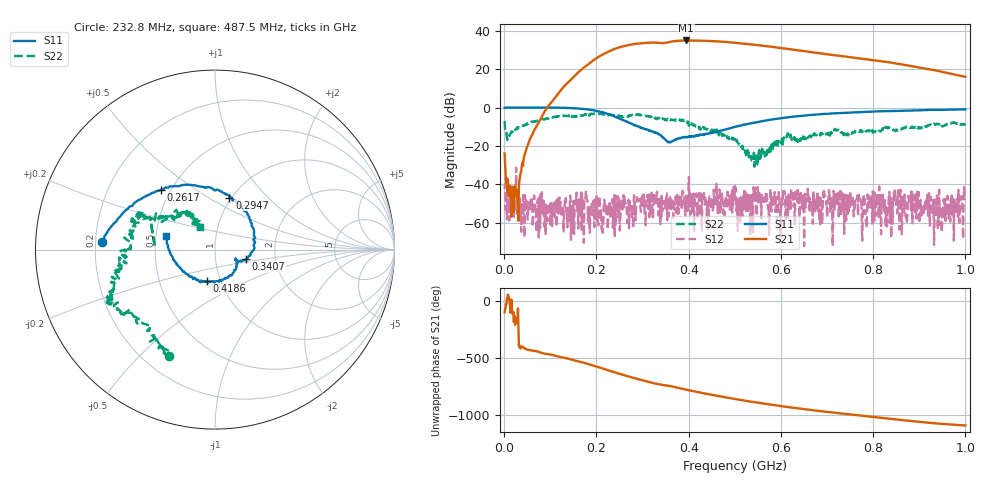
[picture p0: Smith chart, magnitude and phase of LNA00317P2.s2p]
! Created with skrf 1.9.0 (http://scikit-rf.org).
# Hz S RI R 50.0
!freq ReS11 ImS11 ReS21 ImS21 ReS12 ImS12 ReS22 ImS22
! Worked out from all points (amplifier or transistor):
!   1001 points, 1 MHz to 1 GHz, reference 50 ohm
!   highest |S21| = 35.0 dB at 394.6 MHz (marker M1)
!   |S21| within 3 dB of that: 259.7 MHz to 569 MHz (309.3 MHz wide, 74.6 % of centre)
!   unconditionally stable (mu >= 1): 3.625 MHz to 71.79 MHz; 240.8 MHz to 400.5 MHz; 400.7 MHz to end of sweep (the widest 3 of 34)
!   at 166.8 MHz: K = 0.42, MSG = 32.0 dB, |S12| = -44.3 dB
!   at 500.5 MHz: K = 1.18, MAG = 34.8 dB, |S12| = -40.9 dB
!   at 1 GHz: K = 3.04, MAG = 24.4 dB, |S12| = -48.1 dB
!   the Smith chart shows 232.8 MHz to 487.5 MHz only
!   S11 on the Smith chart (normalised r, x): 232.8 MHz: 0.23, +0.03; 261.7 MHz: 0.44, +0.37; 294.7 MHz: 0.98, +0.62; 340.7 MHz: 1.41, -0.15; 418.6 MHz: 0.86, -0.31; 487.5 MHz: 0.57, +0.09
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1000000  0.991 -0.00352  -0.00828 -0.063  -0.00664 -0.00387  0.2887 0.3382
1.08892e8  0.5027 -0.857  -0.7963 -1.525  -0.00126 0.0013  0.4396 -0.3749
1.67833e8  -0.2687 -0.8871  -9.876 -0.5843  0.000155 -0.000596  0.0453 -0.6324
2.05795e8  -0.6739 -0.4105  -15.87 14.42  0.00388 -2.88e-05  -0.1687 -0.666
2.32768e8  -0.63 0.042  -6.916 30.59  -0.00211 -0.0011  -0.2547 -0.592
2.61739e8  -0.3003 0.3338  15.98 37.06  -0.00131 -0.0033  -0.4283 -0.3847
2.94706e8  0.0803 0.2895  41.47 22.86  -0.000396 -0.00283  -0.573 -0.2512
3.14686e8  0.1979 0.1515  48.65 6.34  -0.00128 0.0005  -0.5646 -0.1613
3.34666e8  0.1992 -0.0177  47.95 -9.431  0.00116 -0.001  -0.5338 -0.0618
3.4066e8  0.1744 -0.0527  46.68 -12.92  -0.000343 0.00136  -0.5173 -0.0279
3.68632e8  0.1228 -0.067  44.25 -30.64  -0.00219 0.00136  -0.4473 0.1425
3.94606e8  0.0657 -0.1563  29.11 -48.19  0.00128 0.00156  -0.3986 0.1698
4.18582e8  -0.0447 -0.1764  10.42 -54.62  0.0014 -0.000203  -0.272 0.1873
4.49551e8  -0.1872 -0.11  -12.97 -52.52  0.00334 0.00233  -0.1679 0.203
4.87513e8  -0.2726 0.0744  -33.49 -37.66  0.00406 -0.000946  -0.0827 0.1256
5.005e8  -0.281 0.1491  -38.32 -30.93  0.00602 0.00665  -0.0481 0.1119
5.4046e8  -0.189 0.3485  -42.63 -9.361  0.0064 -0.00524  -0.0241 0.0512
5.88412e8  0.0198 0.5029  -35.7 11.05  0.00076 -0.00171  -0.0846 -0.0645
6.67333e8  0.4044 0.4985  -14.12 23.67  -0.00115 -0.00319  -0.1912 -0.05
7.53247e8  0.6839 0.2881  3.057 20.12  0.00213 0.0019  -0.2055 -0.0019
8.34166e8  0.8056 0.017  10.61 10.8  -0.00521 0.000609  -0.2995 -0.0368
1e9  0.731 -0.5192  6.164 -1.556  -0.00178 0.0035  -0.3312 0.1859
